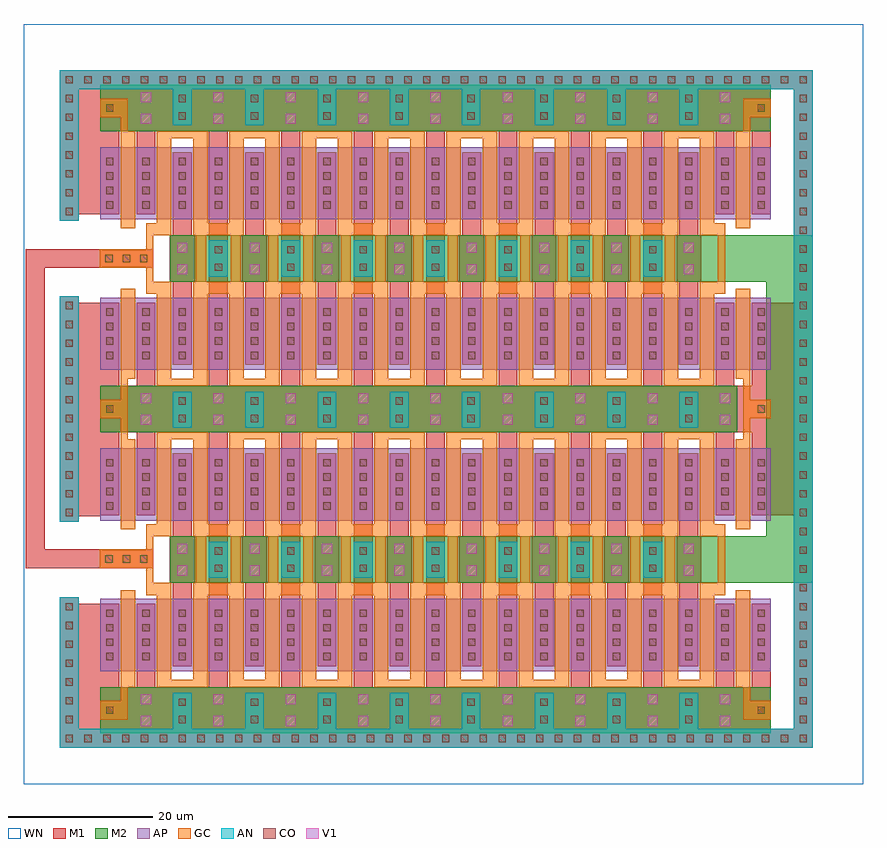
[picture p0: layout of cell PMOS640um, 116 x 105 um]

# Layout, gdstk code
import gdstk
lib = gdstk.Library(unit=1e-6, precision=1e-09)
def R(c, l, rs):  # rectangles x0, y0, x1, y1
    for r in rs: c.add(gdstk.rectangle(r[:2], r[2:], *l))
def A(c, l, x, y, w, h, nx, ny, dx, dy):  # array of equal rectangles
    R(c, l, [(x+i*dx, y+j*dy, x+i*dx+w, y+j*dy+h) for i in range(nx) for j in range(ny)])
AP = (3, 1)
AN = (3, 2)
GC = (8, 1)
CO = (11, 0)
M1 = (13, 0)
V1 = (19, 0)
M2 = (20, 0)
WN = (140, 0)

cont_n_1 = lib.new_cell('cont_n$1')
R(cont_n_1, AN, [(-1.3,-1.3,1.3,1.3)])
R(cont_n_1, CO, [(-0.5,-0.5,0.5,0.5)])
R(cont_n_1, M1, [(-1.3,-1.3,1.3,1.3)])

cont_g = lib.new_cell('cont_g')
R(cont_g, GC, [(-1.3,-1.3,1.3,1.3)])
R(cont_g, CO, [(-0.5,-0.5,0.5,0.5)])
R(cont_g, M1, [(-1.3,-1.3,1.3,1.3)])

via_1 = lib.new_cell('via_1')
R(via_1, M1, [(-1.7,-1.7,1.7,1.7)])
R(via_1, V1, [(-0.7,-0.7,0.7,0.7)])
R(via_1, M2, [(-1.7,-1.7,1.7,1.7)])

cont_n = lib.new_cell('cont_n')
R(cont_n, AN, [(-1.3,-1.3,1.3,1.3)])
R(cont_n, CO, [(-0.5,-0.5,0.5,0.5)])
R(cont_n, M1, [(-1.3,-1.3,1.3,1.3)])

via_1_1 = lib.new_cell('via_1$1')
R(via_1_1, M1, [(-1.7,-1.7,1.7,1.7)])
R(via_1_1, V1, [(-0.7,-0.7,0.7,0.7)])
R(via_1_1, M2, [(-1.7,-1.7,1.7,1.7)])

fet_p_2 = lib.new_cell('fet_p$2')
R(fet_p_2, AP, [(-3.8,-5,3.8,5)])
A(fet_p_2, CO, -3, -3.5, 1, 1, 1, 4, 0, 2)
A(fet_p_2, CO, 2, -3.5, 1, 1, 1, 4, 0, 2)
R(fet_p_2, M1, [(-3.8,-4.3,-1.2,4.3), (1.2,-4.3,3.8,4.3)])
fet_p_2.add(gdstk.FlexPath([(0,-6.2),(0,6.2)], 2, ends="flush", simple_path=True, layer=8, datatype=1))  # GC

fet_p = lib.new_cell('fet_p')
R(fet_p, AP, [(-41.3,-5,41.3,5)])
A(fet_p, CO, -40.5, -3.5, 1, 1, 17, 4, 5, 2)
A(fet_p, M1, -41.3, -4.3, 2.6, 8.6, 17, 1, 5, 0)
fet_p.add(gdstk.FlexPath([(2.5,-6.2),(2.5,6.2)], 2, ends="flush", simple_path=True, layer=8, datatype=1))  # GC
fet_p.add(gdstk.FlexPath([(-2.5,-6.2),(-2.5,6.2)], 2, ends="flush", simple_path=True, layer=8, datatype=1))  # GC
fet_p.add(gdstk.FlexPath([(7.5,-6.2),(7.5,6.2)], 2, ends="flush", simple_path=True, layer=8, datatype=1))  # GC
fet_p.add(gdstk.FlexPath([(-7.5,-6.2),(-7.5,6.2)], 2, ends="flush", simple_path=True, layer=8, datatype=1))  # GC
fet_p.add(gdstk.FlexPath([(12.5,-6.2),(12.5,6.2)], 2, ends="flush", simple_path=True, layer=8, datatype=1))  # GC
fet_p.add(gdstk.FlexPath([(-12.5,-6.2),(-12.5,6.2)], 2, ends="flush", simple_path=True, layer=8, datatype=1))  # GC
fet_p.add(gdstk.FlexPath([(17.5,-6.2),(17.5,6.2)], 2, ends="flush", simple_path=True, layer=8, datatype=1))  # GC
fet_p.add(gdstk.FlexPath([(-17.5,-6.2),(-17.5,6.2)], 2, ends="flush", simple_path=True, layer=8, datatype=1))  # GC
fet_p.add(gdstk.FlexPath([(22.5,-6.2),(22.5,6.2)], 2, ends="flush", simple_path=True, layer=8, datatype=1))  # GC
fet_p.add(gdstk.FlexPath([(-22.5,-6.2),(-22.5,6.2)], 2, ends="flush", simple_path=True, layer=8, datatype=1))  # GC
fet_p.add(gdstk.FlexPath([(27.5,-6.2),(27.5,6.2)], 2, ends="flush", simple_path=True, layer=8, datatype=1))  # GC
fet_p.add(gdstk.FlexPath([(-27.5,-6.2),(-27.5,6.2)], 2, ends="flush", simple_path=True, layer=8, datatype=1))  # GC
fet_p.add(gdstk.FlexPath([(32.5,-6.2),(32.5,6.2)], 2, ends="flush", simple_path=True, layer=8, datatype=1))  # GC
fet_p.add(gdstk.FlexPath([(-32.5,-6.2),(-32.5,6.2)], 2, ends="flush", simple_path=True, layer=8, datatype=1))  # GC
fet_p.add(gdstk.FlexPath([(37.5,-6.2),(37.5,6.2)], 2, ends="flush", simple_path=True, layer=8, datatype=1))  # GC
fet_p.add(gdstk.FlexPath([(-37.5,-6.2),(-37.5,6.2)], 2, ends="flush", simple_path=True, layer=8, datatype=1))  # GC

pmos320um = lib.new_cell('PMOS320um')
A(pmos320um, GC, -38.5, -17.6, 7, 1, 8, 2, 10, 34.2)
A(pmos320um, GC, -33.5, -4.9, 7, 1.7, 7, 2, 10, 8.1)
R(pmos320um, GC, [(-40,-4.9,-36.5,-3.2), (36.5,-4.9,40,-3.2), (-40,3.2,-36.5,4.9), (36.5,3.2,40,4.9)])
pmos320um.add(gdstk.FlexPath([(40,-17.6),(40,-14.7)], 2.6, ends="flush", simple_path=True, layer=13, datatype=0))  # M1
pmos320um.add(gdstk.FlexPath([(45,-17.6),(45,-14.7)], 2.6, ends="flush", simple_path=True, layer=13, datatype=0))  # M1
pmos320um.add(gdstk.FlexPath([(-10,-17.6),(-10,-14.7)], 2.6, ends="flush", simple_path=True, layer=13, datatype=0))  # M1
pmos320um.add(gdstk.FlexPath([(-30,-17.6),(-30,-14.7)], 2.6, ends="flush", simple_path=True, layer=13, datatype=0))  # M1
pmos320um.add(gdstk.FlexPath([(-20,-17.6),(-20,-14.7)], 2.6, ends="flush", simple_path=True, layer=13, datatype=0))  # M1
pmos320um.add(gdstk.FlexPath([(-45,-17.6),(-45,-14.7)], 2.6, ends="flush", simple_path=True, layer=13, datatype=0))  # M1
pmos320um.add(gdstk.FlexPath([(-40,-17.6),(-40,-14.7)], 2.6, ends="flush", simple_path=True, layer=13, datatype=0))  # M1
pmos320um.add(gdstk.FlexPath([(0,-17.6),(0,-14.7)], 2.6, ends="flush", simple_path=True, layer=13, datatype=0))  # M1
pmos320um.add(gdstk.FlexPath([(20,-17.6),(20,-14.7)], 2.6, ends="flush", simple_path=True, layer=13, datatype=0))  # M1
pmos320um.add(gdstk.FlexPath([(30,-17.6),(30,-14.7)], 2.6, ends="flush", simple_path=True, layer=13, datatype=0))  # M1
pmos320um.add(gdstk.FlexPath([(10,-17.6),(10,-14.7)], 2.6, ends="flush", simple_path=True, layer=13, datatype=0))  # M1
pmos320um.add(gdstk.FlexPath([(30,-6.1),(30,-2.5),(30,-2.5)], 2.6, ends="flush", simple_path=True, layer=13, datatype=0))  # M1
pmos320um.add(gdstk.FlexPath([(30,2.5),(30,6.1)], 2.6, ends="flush", simple_path=True, layer=13, datatype=0))  # M1
pmos320um.add(gdstk.FlexPath([(20,-6.1),(20,-2.5),(20,-2.5)], 2.6, ends="flush", simple_path=True, layer=13, datatype=0))  # M1
pmos320um.add(gdstk.FlexPath([(20,2.5),(20,6.1)], 2.6, ends="flush", simple_path=True, layer=13, datatype=0))  # M1
pmos320um.add(gdstk.FlexPath([(10,-6.1),(10,-2.5),(10,-2.5)], 2.6, ends="flush", simple_path=True, layer=13, datatype=0))  # M1
pmos320um.add(gdstk.FlexPath([(10,2.5),(10,6.1)], 2.6, ends="flush", simple_path=True, layer=13, datatype=0))  # M1
pmos320um.add(gdstk.FlexPath([(0,-6.1),(0,-2.5),(0,-2.5)], 2.6, ends="flush", simple_path=True, layer=13, datatype=0))  # M1
pmos320um.add(gdstk.FlexPath([(0,2.5),(0,6.1)], 2.6, ends="flush", simple_path=True, layer=13, datatype=0))  # M1
pmos320um.add(gdstk.FlexPath([(-10,-6.1),(-10,-2.5),(-10,-2.5)], 2.6, ends="flush", simple_path=True, layer=13, datatype=0))  # M1
pmos320um.add(gdstk.FlexPath([(-10,2.5),(-10,6.1)], 2.6, ends="flush", simple_path=True, layer=13, datatype=0))  # M1
pmos320um.add(gdstk.FlexPath([(-20,-6.1),(-20,-2.5),(-20,-2.5)], 2.6, ends="flush", simple_path=True, layer=13, datatype=0))  # M1
pmos320um.add(gdstk.FlexPath([(-20,2.5),(-20,6.1)], 2.6, ends="flush", simple_path=True, layer=13, datatype=0))  # M1
pmos320um.add(gdstk.FlexPath([(-30,-6.1),(-30,-2.5),(-30,-2.5)], 2.6, ends="flush", simple_path=True, layer=13, datatype=0))  # M1
pmos320um.add(gdstk.FlexPath([(-30,2.5),(-30,6.1)], 2.6, ends="flush", simple_path=True, layer=13, datatype=0))  # M1
pmos320um.add(gdstk.FlexPath([(-40,18.5),(-40,14.7)], 2.6, ends="flush", simple_path=True, layer=13, datatype=0))  # M1
pmos320um.add(gdstk.FlexPath([(-45,18.5),(-45,14.7)], 2.6, ends="flush", simple_path=True, layer=13, datatype=0))  # M1
pmos320um.add(gdstk.FlexPath([(-30,14.7),(-30,18.5)], 2.6, ends="flush", simple_path=True, layer=13, datatype=0))  # M1
pmos320um.add(gdstk.FlexPath([(-20,18.5),(-20,14.7)], 2.6, ends="flush", simple_path=True, layer=13, datatype=0))  # M1
pmos320um.add(gdstk.FlexPath([(-10,18.5),(-10,14.7)], 2.6, ends="flush", simple_path=True, layer=13, datatype=0))  # M1
pmos320um.add(gdstk.FlexPath([(0,14.7),(0,18.5)], 2.6, ends="flush", simple_path=True, layer=13, datatype=0))  # M1
pmos320um.add(gdstk.FlexPath([(10,18.5),(10,14.7)], 2.6, ends="flush", simple_path=True, layer=13, datatype=0))  # M1
pmos320um.add(gdstk.FlexPath([(20,14.7),(20,18.5)], 2.6, ends="flush", simple_path=True, layer=13, datatype=0))  # M1
pmos320um.add(gdstk.FlexPath([(30,18.5),(30,14.7)], 2.6, ends="flush", simple_path=True, layer=13, datatype=0))  # M1
pmos320um.add(gdstk.FlexPath([(40,18.5),(40,14.7)], 2.6, ends="flush", simple_path=True, layer=13, datatype=0))  # M1
pmos320um.add(gdstk.FlexPath([(45,14.7),(45,18.5)], 2.6, ends="flush", simple_path=True, layer=13, datatype=0))  # M1
pmos320um.add(gdstk.FlexPath([(35,-6.1),(35,-3.2)], 2.6, ends="flush", simple_path=True, layer=13, datatype=0))  # M1
pmos320um.add(gdstk.FlexPath([(35,3.2),(35,6.1)], 2.6, ends="flush", simple_path=True, layer=13, datatype=0))  # M1
pmos320um.add(gdstk.FlexPath([(25,-6.1),(25,-3.2)], 2.6, ends="flush", simple_path=True, layer=13, datatype=0))  # M1
pmos320um.add(gdstk.FlexPath([(25,3.2),(25,6.1)], 2.6, ends="flush", simple_path=True, layer=13, datatype=0))  # M1
pmos320um.add(gdstk.FlexPath([(15,-6.1),(15,-3.2)], 2.6, ends="flush", simple_path=True, layer=13, datatype=0))  # M1
pmos320um.add(gdstk.FlexPath([(15,3.2),(15,6.1)], 2.6, ends="flush", simple_path=True, layer=13, datatype=0))  # M1
pmos320um.add(gdstk.FlexPath([(5,-6.1),(5,-3.2)], 2.6, ends="flush", simple_path=True, layer=13, datatype=0))  # M1
pmos320um.add(gdstk.FlexPath([(5,3.2),(5,6.1)], 2.6, ends="flush", simple_path=True, layer=13, datatype=0))  # M1
pmos320um.add(gdstk.FlexPath([(-5,-6.1),(-5,-3.2)], 2.6, ends="flush", simple_path=True, layer=13, datatype=0))  # M1
pmos320um.add(gdstk.FlexPath([(-5,3.2),(-5,6.1)], 2.6, ends="flush", simple_path=True, layer=13, datatype=0))  # M1
pmos320um.add(gdstk.FlexPath([(-15,-6.1),(-15,-3.2)], 2.6, ends="flush", simple_path=True, layer=13, datatype=0))  # M1
pmos320um.add(gdstk.FlexPath([(-15,3.2),(-15,6.1)], 2.6, ends="flush", simple_path=True, layer=13, datatype=0))  # M1
pmos320um.add(gdstk.FlexPath([(-25,3.2),(-25,6.1)], 2.6, ends="flush", simple_path=True, layer=13, datatype=0))  # M1
pmos320um.add(gdstk.FlexPath([(-25,-6.1),(-25,-3.2)], 2.6, ends="flush", simple_path=True, layer=13, datatype=0))  # M1
pmos320um.add(gdstk.FlexPath([(-35,-6.1),(-35,-3.2)], 2.6, ends="flush", simple_path=True, layer=13, datatype=0))  # M1
pmos320um.add(gdstk.FlexPath([(-35,3.2),(-35,6.1)], 2.6, ends="flush", simple_path=True, layer=13, datatype=0))  # M1
pmos320um.add(gdstk.FlexPath([(-36.7,0),(36.7,0),(36.7,0)], 6.4, ends="flush", simple_path=True, layer=20, datatype=0))  # M2
pmos320um.add(gdstk.FlexPath([(-39.5,-3.2),(-39.5,3.2)], 1, ends="flush", simple_path=True, layer=8, datatype=1))  # GC
pmos320um.add(gdstk.FlexPath([(39.5,-3.2),(39.5,3.2)], 1, ends="flush", simple_path=True, layer=8, datatype=1))  # GC
pmos320um.add(gdstk.FlexPath([(17.6,-3.2),(17.6,3.2),(17.6,3.2)], 1.4, ends="flush", simple_path=True, layer=8, datatype=1))  # GC
pmos320um.add(gdstk.FlexPath([(22.4,-3.2),(22.4,3.2),(22.4,3.2)], 1.4, ends="flush", simple_path=True, layer=8, datatype=1))  # GC
pmos320um.add(gdstk.FlexPath([(7.6,-3.2),(7.6,3.2),(7.6,3.2)], 1.4, ends="flush", simple_path=True, layer=8, datatype=1))  # GC
pmos320um.add(gdstk.FlexPath([(12.4,-3.2),(12.4,3.2),(12.4,3.2)], 1.4, ends="flush", simple_path=True, layer=8, datatype=1))  # GC
pmos320um.add(gdstk.FlexPath([(27.6,-3.2),(27.6,3.2),(27.6,3.2)], 1.4, ends="flush", simple_path=True, layer=8, datatype=1))  # GC
pmos320um.add(gdstk.FlexPath([(32.4,-3.2),(32.4,3.2),(32.4,3.2)], 1.4, ends="flush", simple_path=True, layer=8, datatype=1))  # GC
pmos320um.add(gdstk.FlexPath([(-2.4,-3.2),(-2.4,3.2),(-2.4,3.2)], 1.4, ends="flush", simple_path=True, layer=8, datatype=1))  # GC
pmos320um.add(gdstk.FlexPath([(2.4,-3.2),(2.4,3.2),(2.4,3.2)], 1.4, ends="flush", simple_path=True, layer=8, datatype=1))  # GC
pmos320um.add(gdstk.FlexPath([(-12.4,-3.2),(-12.4,3.2),(-12.4,3.2)], 1.4, ends="flush", simple_path=True, layer=8, datatype=1))  # GC
pmos320um.add(gdstk.FlexPath([(-7.6,-3.2),(-7.6,3.2),(-7.6,3.2)], 1.4, ends="flush", simple_path=True, layer=8, datatype=1))  # GC
pmos320um.add(gdstk.FlexPath([(-22.4,-3.2),(-22.4,3.2),(-22.4,3.2)], 1.4, ends="flush", simple_path=True, layer=8, datatype=1))  # GC
pmos320um.add(gdstk.FlexPath([(-17.6,-3.2),(-17.6,3.2),(-17.6,3.2)], 1.4, ends="flush", simple_path=True, layer=8, datatype=1))  # GC
pmos320um.add(gdstk.FlexPath([(-32.4,-3.2),(-32.4,3.2),(-32.4,3.2)], 1.4, ends="flush", simple_path=True, layer=8, datatype=1))  # GC
pmos320um.add(gdstk.FlexPath([(-27.6,-3.2),(-27.6,3.2),(-27.6,3.2)], 1.4, ends="flush", simple_path=True, layer=8, datatype=1))  # GC
r = gdstk.Reference(cont_n, (30,-1.2)); r.repetition = gdstk.Repetition(1, 2, v1=(0,0), v2=(0,2.4)); pmos320um.add(r)
r = gdstk.Reference(via_1_1, (-35,1.5), x_reflection=True); r.repetition = gdstk.Repetition(8, 2, v1=(10,0), v2=(0,-3)); pmos320um.add(r)
pmos320um.add(gdstk.Reference(fet_p_2, (-42.5,10.4)))
pmos320um.add(gdstk.Reference(fet_p_2, (42.5,10.4)))
pmos320um.add(gdstk.Reference(fet_p, (0,10.4)))
pmos320um.add(gdstk.Reference(fet_p_2, (-42.5,-10.4), x_reflection=True))
pmos320um.add(gdstk.Reference(fet_p_2, (42.5,-10.4), x_reflection=True))
r = gdstk.Reference(cont_n, (20,-1.2)); r.repetition = gdstk.Repetition(1, 2, v1=(0,0), v2=(0,2.4)); pmos320um.add(r)
r = gdstk.Reference(cont_n, (10,-1.2)); r.repetition = gdstk.Repetition(1, 2, v1=(0,0), v2=(0,2.4)); pmos320um.add(r)
r = gdstk.Reference(cont_n, (0,-1.2)); r.repetition = gdstk.Repetition(1, 2, v1=(0,0), v2=(0,2.4)); pmos320um.add(r)
pmos320um.add(gdstk.Reference(fet_p, (0,-10.4), x_reflection=True))
r = gdstk.Reference(cont_n, (-10,-1.2)); r.repetition = gdstk.Repetition(1, 2, v1=(0,0), v2=(0,2.4)); pmos320um.add(r)
r = gdstk.Reference(cont_n, (-20,-1.2)); r.repetition = gdstk.Repetition(1, 2, v1=(0,0), v2=(0,2.4)); pmos320um.add(r)
r = gdstk.Reference(cont_n, (-30,-1.2)); r.repetition = gdstk.Repetition(1, 2, v1=(0,0), v2=(0,2.4)); pmos320um.add(r)

pmos640um = lib.new_cell('PMOS640um')
A(pmos640um, GC, 13.2, 8.9, 0.2, 2.6, 1, 3, 0, 41.6)
A(pmos640um, GC, 100.4, 8.9, 0.2, 2.6, 1, 3, 0, 41.6)
R(pmos640um, GC, [(13.4,8.9,14.4,14.4), (99.4,8.9,100.4,14.4), (14.4,13.4,15.4,14.4), (98.4,13.4,99.4,14.4), (13.4,47.6,14.4,56), (99.4,47.6,100.4,56), (13.4,89.2,14.4,94.7), (14.4,89.2,15.4,90.2), (98.4,89.2,99.4,90.2), (99.4,89.2,100.4,94.7)])
A(pmos640um, M1, 10.6, 7, 4.6, 6.4, 1, 3, 0, 41.6)
A(pmos640um, M1, 98.6, 7, 4.6, 6.4, 1, 3, 0, 41.6)
R(pmos640um, M1, [(7.6,7.6,10.6,24.9), (7.6,37,10.6,66.5), (103.2,37.1,106.4,66.5), (7.6,78.7,10.6,96.1)])
R(pmos640um, WN, [(0,0,116,105)])
pmos640um.add(gdstk.FlexPath([(15.2,10.2),(98.6,10.2)], 6.4, ends="flush", simple_path=True, layer=13, datatype=0))  # M1
pmos640um.add(gdstk.FlexPath([(15.2,93.4),(98.6,93.4)], 6.4, ends="flush", simple_path=True, layer=13, datatype=0))  # M1
pmos640um.add(gdstk.FlexPath([(15.2,51.8),(98.6,51.8)], 6.4, ends="flush", simple_path=True, layer=13, datatype=0))  # M1
pmos640um.add(gdstk.FlexPath([(10.5,31.1),(1.6,31.1),(1.6,51.8)], 2.6, ends="flush", simple_path=True, layer=13, datatype=0))  # M1
pmos640um.add(gdstk.FlexPath([(1.6,51.8),(1.6,72.6),(10.5,72.6)], 2.6, ends="flush", simple_path=True, layer=13, datatype=0))  # M1
pmos640um.add(gdstk.FlexPath([(105.8,27.8),(105.8,75.8)], 6.4, ends="flush", simple_path=True, layer=20, datatype=0))  # M2
pmos640um.add(gdstk.FlexPath([(10.6,10.2),(103.2,10.2)], 6.4, ends="flush", simple_path=True, layer=20, datatype=0))  # M2
pmos640um.add(gdstk.FlexPath([(10.6,93.4),(103.2,93.4)], 6.4, ends="flush", simple_path=True, layer=20, datatype=0))  # M2
pmos640um.add(gdstk.FlexPath([(93.6,31),(109,31)], 6.4, ends="flush", simple_path=True, layer=20, datatype=0))  # M2
pmos640um.add(gdstk.FlexPath([(93.6,72.6),(109,72.6)], 6.4, ends="flush", simple_path=True, layer=20, datatype=0))  # M2
pmos640um.add(gdstk.FlexPath([(98.6,51.8),(10.6,51.8)], 6.4, ends="flush", simple_path=True, layer=20, datatype=0))  # M2
r = gdstk.Reference(cont_n_1, (6.3,97.3), x_reflection=True); r.repetition = gdstk.Repetition(1, 8, v1=(0,0), v2=(0,-2.6)); pmos640um.add(r)
r = gdstk.Reference(cont_n_1, (107.7,6.3)); r.repetition = gdstk.Repetition(1, 36, v1=(0,0), v2=(0,2.6)); pmos640um.add(r)
r = gdstk.Reference(cont_n_1, (6.3,6.3)); r.repetition = gdstk.Repetition(40, 1, v1=(2.6,0), v2=(0,0)); pmos640um.add(r)
r = gdstk.Reference(cont_n_1, (6.3,97.3)); r.repetition = gdstk.Repetition(40, 1, v1=(2.6,0), v2=(0,0)); pmos640um.add(r)
r = gdstk.Reference(cont_n_1, (6.3,6.3)); r.repetition = gdstk.Repetition(1, 8, v1=(0,0), v2=(0,2.6)); pmos640um.add(r)
pmos640um.add(gdstk.Reference(cont_g, (101.9,10.2)))
pmos640um.add(gdstk.Reference(cont_g, (11.9,10.2)))
r = gdstk.Reference(cont_n_1, (41.9,8.9)); r.repetition = gdstk.Repetition(1, 2, v1=(0,0), v2=(0,2.4)); pmos640um.add(r)
r = gdstk.Reference(cont_n_1, (91.9,8.9)); r.repetition = gdstk.Repetition(1, 2, v1=(0,0), v2=(0,2.4)); pmos640um.add(r)
r = gdstk.Reference(cont_n_1, (81.9,8.9)); r.repetition = gdstk.Repetition(1, 2, v1=(0,0), v2=(0,2.4)); pmos640um.add(r)
r = gdstk.Reference(cont_n_1, (71.9,8.9)); r.repetition = gdstk.Repetition(1, 2, v1=(0,0), v2=(0,2.4)); pmos640um.add(r)
r = gdstk.Reference(cont_n_1, (61.8,8.9)); r.repetition = gdstk.Repetition(1, 2, v1=(0,0), v2=(0,2.4)); pmos640um.add(r)
r = gdstk.Reference(cont_n_1, (51.9,8.9)); r.repetition = gdstk.Repetition(1, 2, v1=(0,0), v2=(0,2.4)); pmos640um.add(r)
r = gdstk.Reference(cont_n_1, (21.9,8.9)); r.repetition = gdstk.Repetition(1, 2, v1=(0,0), v2=(0,2.4)); pmos640um.add(r)
r = gdstk.Reference(cont_n_1, (31.9,8.9)); r.repetition = gdstk.Repetition(1, 2, v1=(0,0), v2=(0,2.4)); pmos640um.add(r)
r = gdstk.Reference(cont_n_1, (41.9,8.9)); r.repetition = gdstk.Repetition(1, 2, v1=(0,0), v2=(0,2.4)); pmos640um.add(r)
r = gdstk.Reference(via_1, (16.9,11.7), x_reflection=True); r.repetition = gdstk.Repetition(9, 2, v1=(10,0), v2=(0,-3)); pmos640um.add(r)
pmos640um.add(gdstk.Reference(cont_g, (101.9,93.4), x_reflection=True))
pmos640um.add(gdstk.Reference(cont_g, (101.9,51.8)))
pmos640um.add(gdstk.Reference(cont_g, (11.9,93.4)))
r = gdstk.Reference(cont_n_1, (41.9,92.3)); r.repetition = gdstk.Repetition(1, 2, v1=(0,0), v2=(0,2.4)); pmos640um.add(r)
r = gdstk.Reference(cont_n_1, (91.9,92.3)); r.repetition = gdstk.Repetition(1, 2, v1=(0,0), v2=(0,2.4)); pmos640um.add(r)
r = gdstk.Reference(cont_n_1, (81.9,92.3)); r.repetition = gdstk.Repetition(1, 2, v1=(0,0), v2=(0,2.4)); pmos640um.add(r)
r = gdstk.Reference(cont_n_1, (71.9,92.3)); r.repetition = gdstk.Repetition(1, 2, v1=(0,0), v2=(0,2.4)); pmos640um.add(r)
r = gdstk.Reference(cont_n_1, (61.8,92.3)); r.repetition = gdstk.Repetition(1, 2, v1=(0,0), v2=(0,2.4)); pmos640um.add(r)
r = gdstk.Reference(cont_n_1, (51.9,92.3)); r.repetition = gdstk.Repetition(1, 2, v1=(0,0), v2=(0,2.4)); pmos640um.add(r)
r = gdstk.Reference(cont_n_1, (21.9,92.3)); r.repetition = gdstk.Repetition(1, 2, v1=(0,0), v2=(0,2.4)); pmos640um.add(r)
r = gdstk.Reference(cont_n_1, (31.9,92.3)); r.repetition = gdstk.Repetition(1, 2, v1=(0,0), v2=(0,2.4)); pmos640um.add(r)
r = gdstk.Reference(via_1, (16.9,94.9), x_reflection=True); r.repetition = gdstk.Repetition(9, 2, v1=(10,0), v2=(0,-3)); pmos640um.add(r)
pmos640um.add(gdstk.Reference(cont_g, (11.9,51.8)))
r = gdstk.Reference(cont_n_1, (41.9,50.5)); r.repetition = gdstk.Repetition(1, 2, v1=(0,0), v2=(0,2.4)); pmos640um.add(r)
r = gdstk.Reference(cont_n_1, (91.9,50.5)); r.repetition = gdstk.Repetition(1, 2, v1=(0,0), v2=(0,2.4)); pmos640um.add(r)
r = gdstk.Reference(cont_n_1, (81.9,50.5)); r.repetition = gdstk.Repetition(1, 2, v1=(0,0), v2=(0,2.4)); pmos640um.add(r)
r = gdstk.Reference(cont_n_1, (71.9,50.5)); r.repetition = gdstk.Repetition(1, 2, v1=(0,0), v2=(0,2.4)); pmos640um.add(r)
r = gdstk.Reference(cont_n_1, (61.8,50.5)); r.repetition = gdstk.Repetition(1, 2, v1=(0,0), v2=(0,2.4)); pmos640um.add(r)
r = gdstk.Reference(cont_n_1, (51.9,50.5)); r.repetition = gdstk.Repetition(1, 2, v1=(0,0), v2=(0,2.4)); pmos640um.add(r)
r = gdstk.Reference(cont_n_1, (21.9,50.5)); r.repetition = gdstk.Repetition(1, 2, v1=(0,0), v2=(0,2.4)); pmos640um.add(r)
r = gdstk.Reference(cont_n_1, (31.9,50.5)); r.repetition = gdstk.Repetition(1, 2, v1=(0,0), v2=(0,2.4)); pmos640um.add(r)
r = gdstk.Reference(cont_g, (11.8,31.1)); r.repetition = gdstk.Repetition(3, 1, v1=(2.4,0), v2=(0,0)); pmos640um.add(r)
r = gdstk.Reference(cont_g, (11.8,72.6)); r.repetition = gdstk.Repetition(3, 1, v1=(2.4,0), v2=(0,0)); pmos640um.add(r)
r = gdstk.Reference(cont_n_1, (41.9,50.5)); r.repetition = gdstk.Repetition(1, 2, v1=(0,0), v2=(0,2.4)); pmos640um.add(r)
pmos640um.add(gdstk.Reference(pmos320um, (56.9,31), x_reflection=True))
pmos640um.add(gdstk.Reference(pmos320um, (56.9,72.6)))
r = gdstk.Reference(via_1, (16.9,53.3), x_reflection=True); r.repetition = gdstk.Repetition(9, 2, v1=(10,0), v2=(0,-3)); pmos640um.add(r)
r = gdstk.Reference(cont_n_1, (6.3,66.1), x_reflection=True); r.repetition = gdstk.Repetition(1, 12, v1=(0,0), v2=(0,-2.6)); pmos640um.add(r)

lib.write_gds('PMOS640um.gds')
